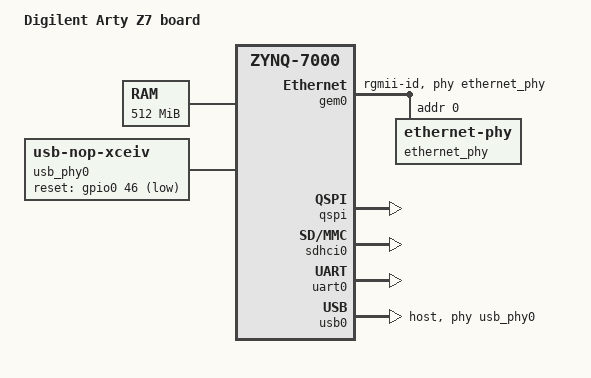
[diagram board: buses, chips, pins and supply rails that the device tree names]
// SPDX-License-Identifier: GPL-2.0+
/*
 *  Copyright (C) 2011 - 2015 Xilinx
 *  Copyright (C) 2012 National Instruments Corp.
 */
/dts-v1/;
#include "zynq-7000.dtsi"
#include <dt-bindings/gpio/gpio.h>

/ {
	model = "Digilent Arty Z7 board";
	compatible = "digilent,zynq-arty-z7", "xlnx,zynq-7000";

	aliases {
		ethernet0 = &gem0;
		serial0 = &uart0;
		spi0 = &qspi;
		mmc0 = &sdhci0;
	};

	memory@0 {
		device_type = "memory";
		reg = <0x0 0x20000000>;
	};

	chosen {
		bootargs = "";
		stdout-path = "serial0:115200n8";
	};

	usb_phy0: phy0 {
		#phy-cells = <0>;
		compatible = "usb-nop-xceiv";
		reset-gpios = <&gpio0 46 GPIO_ACTIVE_LOW>;
	};
};

&clkc {
	fclk-enable = <0x3>;
	ps-clk-frequency = <50000000>;
};

&gem0 {
	status = "okay";
	phy-mode = "rgmii-id";
	enet-reset = <&gpio0 9 0>;
	phy-handle = <&ethernet_phy>;

	ethernet_phy: ethernet-phy@0 {
		reg = <0>;
		device_type = "ethernet-phy";
	};
};

&gpio0 {
	emio-gpio-width = <64>;
	gpio-mask-high = <0x0>;
	gpio-mask-low = <0x5600>;
};

&qspi {
	u-boot,dm-pre-reloc;
	status = "okay";
	is-dual = <0>;
	num-cs = <1>;
	spi-rx-bus-width = <4>;
	spi-tx-bus-width = <4>;
};

&sdhci0 {
	u-boot,dm-pre-reloc;
	status = "okay";
	xlnx,has-cd = <0x1>;
	xlnx,has-power = <0x0>;
	xlnx,has-wp = <0x0>;
};

&uart0 {
	u-boot,dm-pre-reloc;
	status = "okay";
};

&usb0 {
	status = "okay";
	dr_mode = "host";
	usb-phy = <&usb_phy0>;
	usb-reset = <&gpio0 46 0>;
};
